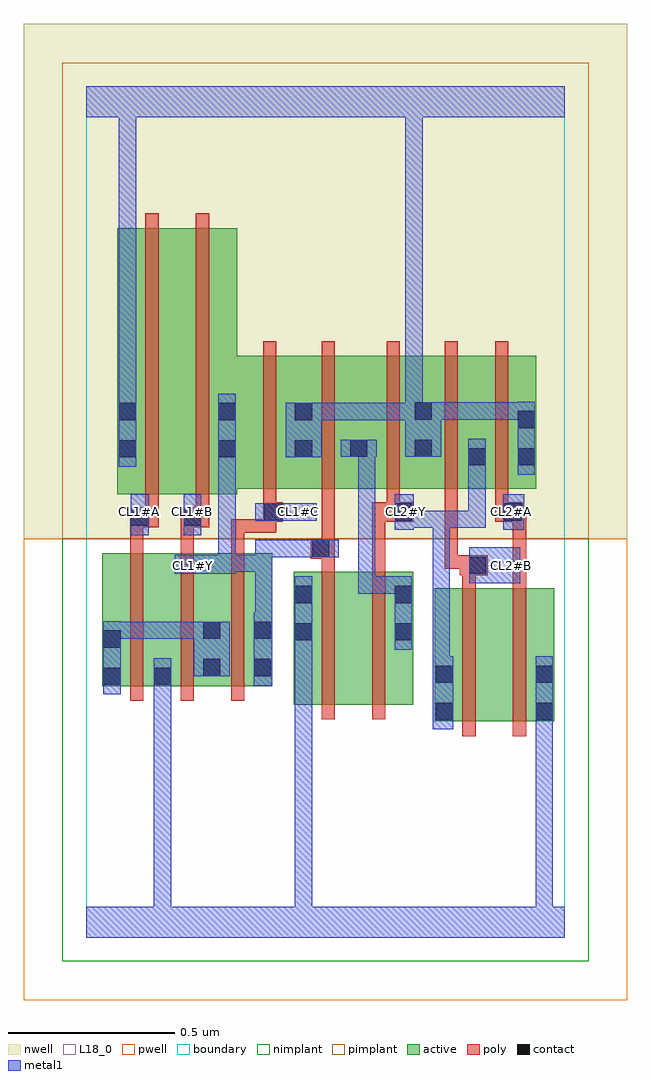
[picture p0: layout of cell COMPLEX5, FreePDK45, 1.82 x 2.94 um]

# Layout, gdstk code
import gdstk
lib = gdstk.Library(unit=1e-6, precision=1e-09)
def R(c, l, rs):  # rectangles x0, y0, x1, y1
    for r in rs: c.add(gdstk.rectangle(r[:2], r[2:], *l))
def A(c, l, x, y, w, h, nx, ny, dx, dy):  # array of equal rectangles
    R(c, l, [(x+i*dx, y+j*dy, x+i*dx+w, y+j*dy+h) for i in range(nx) for j in range(ny)])
active = (1, 0)
pwell = (2, 0)
nwell = (3, 0)
nimplant = (4, 0)
pimplant = (5, 0)
poly = (9, 0)
contact = (10, 0)
metal1 = (11, 0)
L18_0 = (18, 0)
boundary = (235, 0)

complex5 = lib.new_cell('COMPLEX5')
R(complex5, active, [(1.048,0.65,1.108,1.05), (1.048,0.65,1.228,1.05), (1.228,0.65,1.408,1.05), (1.348,0.65,1.408,1.05), (0.624,0.7,0.684,1.1), (0.624,0.7,0.804,1.1), (0.804,0.7,0.984,1.1), (0.924,0.7,0.984,1.1), (0.048,0.756,0.108,1.156), (0.048,0.756,0.26,1.156), (0.2,0.756,0.408,1.156), (0.2,0.756,0.26,0.816), (0.348,0.756,0.56,1.156), (0.348,0.756,0.408,0.954), (0.5,0.756,0.56,1.156), (0.094,1.334,0.274,2.134), (0.094,1.334,0.154,2.044), (0.274,1.334,0.454,2.134), (0.394,1.35,0.454,1.644), (0.394,1.35,0.684,1.75), (0.624,1.35,0.684,1.644), (0.624,1.35,0.85,1.75), (0.79,1.35,0.85,1.644), (0.79,1.35,1.044,1.75), (0.984,1.35,1.044,1.644), (0.984,1.35,1.206,1.75), (1.146,1.35,1.354,1.75), (1.146,1.35,1.206,1.644), (1.294,1.35,1.354,1.644)])
R(complex5, pwell, [(-0.188,-0.188,1.628,1.2)])
R(complex5, nwell, [(-0.188,1.2,1.628,2.748)])
R(complex5, nimplant, [(-0.072,-0.072,1.512,1.2)])
R(complex5, pimplant, [(-0.072,1.2,1.512,2.632)])
A(complex5, poly, 0.132, 0.712, 0.04, 0.488, 3, 1, 0.152, 0)
R(complex5, poly, [(1.132,0.606,1.172,1.094), (1.284,0.606,1.324,1.094), (0.708,0.656,0.748,1.144), (0.86,0.656,0.9,1.144), (1.132,1.054,1.172,1.13), (1.284,1.054,1.324,1.29), (1.124,1.09,1.208,1.15), (0.708,1.104,0.748,1.18), (0.86,1.104,0.9,1.29), (1.078,1.11,1.118,1.346), (1.078,1.11,1.164,1.15), (1.124,1.11,1.164,1.15), (0.676,1.14,0.748,1.2), (0.132,1.16,0.172,1.274), (0.284,1.16,0.324,1.274), (0.436,1.16,0.476,1.258), (0.708,1.16,0.748,1.2), (0.708,1.16,0.748,1.2), (0.708,1.16,0.748,1.346), (0.436,1.218,0.572,1.258), (0.532,1.218,0.572,1.29), (0.132,1.234,0.172,1.274), (0.132,1.234,0.172,1.274), (0.132,1.234,0.218,1.294), (0.284,1.234,0.33,1.274), (0.29,1.234,0.33,1.274), (0.29,1.234,0.37,1.294), (0.532,1.25,0.592,1.31), (0.86,1.25,0.984,1.31), (1.23,1.25,1.314,1.31), (1.274,1.25,1.314,1.29), (1.274,1.25,1.324,1.29), (0.178,1.254,0.218,1.33), (0.33,1.254,0.37,1.33), (0.532,1.27,0.572,1.346), (0.904,1.27,0.944,1.346), (0.904,1.27,0.944,1.31), (0.904,1.27,0.944,1.31), (1.23,1.27,1.27,1.346), (0.178,1.29,0.218,2.178), (0.33,1.29,0.37,2.178), (0.532,1.306,0.572,1.794), (0.708,1.306,0.748,1.794), (0.904,1.306,0.944,1.794), (1.078,1.306,1.118,1.794), (1.23,1.306,1.27,1.794)])
R(complex5, contact, [(1.052,0.654,1.104,0.706), (1.352,0.654,1.404,0.706), (0.052,0.76,0.104,0.812), (0.204,0.76,0.256,0.812), (1.052,0.766,1.104,0.818), (1.352,0.766,1.404,0.818), (0.352,0.786,0.404,0.838), (0.504,0.786,0.556,0.838), (0.052,0.872,0.104,0.924), (0.628,0.894,0.68,0.946), (0.928,0.894,0.98,0.946), (0.352,0.898,0.404,0.95), (0.504,0.898,0.556,0.95), (0.628,1.006,0.68,1.058), (0.928,1.006,0.98,1.058), (1.152,1.094,1.204,1.146), (0.68,1.144,0.732,1.196), (0.136,1.238,0.188,1.29), (0.294,1.238,0.346,1.29), (0.536,1.254,0.588,1.306), (0.928,1.254,0.98,1.306), (1.258,1.254,1.31,1.306), (1.15,1.42,1.202,1.472), (1.298,1.42,1.35,1.472), (0.098,1.444,0.15,1.496), (0.398,1.444,0.45,1.496), (0.628,1.444,0.68,1.496), (0.794,1.446,0.846,1.498), (0.988,1.446,1.04,1.498), (1.298,1.532,1.35,1.584), (0.098,1.556,0.15,1.608), (0.398,1.556,0.45,1.608), (0.628,1.556,0.68,1.608), (0.988,1.558,1.04,1.61)])
R(complex5, metal1, [(0,0,1.44,0.092), (0.204,0.04,0.256,0.784), (0.628,0.04,0.68,0.092), (0.628,0.04,0.68,0.092), (0.628,0.04,0.68,0.092), (0.628,0.04,0.68,0.092), (0.628,0.04,0.68,0.092), (0.628,0.04,0.68,0.092), (0.628,0.04,0.68,0.092), (0.628,0.04,0.68,0.092), (0.628,0.04,0.68,0.092), (0.628,0.04,0.68,0.092), (0.628,0.04,0.68,0.918), (1.352,0.04,1.404,0.678), (1.042,0.626,1.104,0.846), (1.352,0.626,1.404,0.678), (1.352,0.626,1.404,0.678), (1.352,0.626,1.404,0.678), (1.352,0.626,1.404,0.678), (1.352,0.626,1.404,0.678), (1.352,0.626,1.404,0.678), (1.352,0.626,1.404,0.678), (1.352,0.626,1.404,0.678), (1.352,0.626,1.404,0.678), (1.352,0.626,1.404,0.678), (1.352,0.626,1.404,0.678), (1.352,0.626,1.404,0.678), (1.352,0.626,1.404,0.846), (0.052,0.732,0.104,0.952), (0.204,0.732,0.256,0.784), (0.204,0.732,0.256,0.784), (0.204,0.732,0.256,0.784), (0.204,0.732,0.256,0.784), (0.204,0.732,0.256,0.784), (0.204,0.732,0.256,0.784), (0.204,0.732,0.256,0.784), (0.204,0.732,0.256,0.784), (0.204,0.732,0.256,0.784), (0.204,0.732,0.256,0.784), (0.204,0.732,0.256,0.784), (0.204,0.732,0.256,0.784), (0.204,0.732,0.256,0.84), (0.504,0.758,0.56,0.978), (0.324,0.786,0.432,0.95), (1.042,0.794,1.094,1.284), (0.628,0.866,0.68,0.918), (0.628,0.866,0.68,0.918), (0.628,0.866,0.68,1.086), (0.928,0.866,0.98,1.086), (0.052,0.898,0.104,0.95), (0.052,0.898,0.104,0.95), (0.052,0.898,0.212,0.95), (0.16,0.898,0.212,0.95), (0.16,0.898,0.376,0.95), (0.324,0.898,0.376,0.95), (0.324,0.898,0.376,0.95), (0.508,0.926,0.56,1.152), (0.818,1.034,0.87,1.086), (0.818,1.034,0.87,1.086), (0.818,1.034,0.87,1.086), (0.818,1.034,0.87,1.086), (0.818,1.034,0.87,1.086), (0.818,1.034,0.87,1.086), (0.818,1.034,0.87,1.086), (0.818,1.034,0.98,1.086), (0.818,1.034,0.87,1.498), (1.152,1.066,1.306,1.174), (0.266,1.094,0.45,1.152), (0.398,1.1,0.45,1.152), (0.398,1.1,0.45,1.152), (0.398,1.1,0.542,1.152), (0.398,1.1,0.45,1.468), (0.49,1.1,0.542,1.152), (0.49,1.1,0.56,1.152), (0.508,1.1,0.56,1.196), (0.508,1.144,0.704,1.196), (0.652,1.144,0.704,1.196), (0.652,1.144,0.704,1.196), (0.652,1.144,0.76,1.196), (0.134,1.21,0.188,1.334), (0.294,1.21,0.346,1.334), (0.928,1.226,0.986,1.334), (1.254,1.226,1.318,1.334), (0.934,1.232,0.986,1.284), (0.934,1.232,0.986,1.284), (0.934,1.232,1.094,1.284), (1.042,1.232,1.094,1.284), (1.042,1.232,1.094,1.284), (1.042,1.232,1.094,1.284), (1.042,1.232,1.178,1.284), (1.126,1.232,1.178,1.284), (1.126,1.232,1.202,1.284), (1.15,1.232,1.202,1.284), (1.15,1.232,1.202,1.444), (0.508,1.254,0.694,1.306), (1.15,1.392,1.202,1.5), (1.298,1.392,1.35,1.612), (0.098,1.416,0.15,1.636), (0.398,1.416,0.45,1.636), (0.6,1.444,0.708,1.608), (0.766,1.446,0.874,1.498), (0.96,1.446,1.068,1.61), (0.656,1.556,0.708,1.608), (0.656,1.556,0.708,1.608), (0.656,1.556,0.87,1.608), (0.818,1.556,0.87,1.608), (0.818,1.556,0.87,1.608), (0.818,1.556,0.87,1.608), (0.818,1.556,1.012,1.608), (0.96,1.558,1.012,1.61), (0.96,1.558,1.012,1.61), (0.96,1.558,1.012,1.61), (0.96,1.558,1.012,1.61), (0.96,1.558,1.012,2.52), (1.016,1.558,1.094,1.61), (1.042,1.558,1.094,1.61), (1.042,1.558,1.196,1.61), (1.144,1.558,1.196,1.61), (1.144,1.558,1.24,1.61), (1.188,1.558,1.24,1.61), (1.188,1.558,1.35,1.61), (1.298,1.558,1.35,1.61), (1.298,1.558,1.35,1.61), (0.098,1.584,0.15,1.636), (0.098,1.584,0.15,1.636), (0.098,1.584,0.15,1.636), (0.098,1.584,0.15,1.636), (0.098,1.584,0.15,1.636), (0.098,1.584,0.15,1.636), (0.098,1.584,0.15,1.636), (0.098,1.584,0.15,1.636), (0.098,1.584,0.15,2.52), (0,2.468,1.44,2.56), (0.96,2.468,1.012,2.52), (0.96,2.468,1.012,2.52), (0.96,2.468,1.012,2.52), (0.96,2.468,1.012,2.52), (0.96,2.468,1.012,2.52), (0.96,2.468,1.012,2.52), (0.96,2.468,1.012,2.52), (0.96,2.468,1.012,2.52), (0.96,2.468,1.012,2.52), (0.96,2.468,1.012,2.52), (0.96,2.468,1.012,2.52), (0.96,2.468,1.012,2.52)])
A(complex5, L18_0, 0.294, 1.254, 0.052, 0.052, 4, 1, 0.32, 0)
R(complex5, L18_0, [(0,0,1.44,0.092), (0.204,0.04,0.256,0.784), (0.628,0.04,0.68,0.092), (0.628,0.04,0.68,0.092), (0.628,0.04,0.68,0.092), (0.628,0.04,0.68,0.092), (0.628,0.04,0.68,0.092), (0.628,0.04,0.68,0.092), (0.628,0.04,0.68,0.092), (0.628,0.04,0.68,0.092), (0.628,0.04,0.68,0.092), (0.628,0.04,0.68,0.092), (0.628,0.04,0.68,0.918), (1.352,0.04,1.404,0.678), (1.042,0.626,1.104,0.846), (1.352,0.626,1.404,0.846), (1.352,0.626,1.404,0.678), (1.352,0.626,1.404,0.678), (1.352,0.626,1.404,0.678), (1.352,0.626,1.404,0.678), (1.352,0.626,1.404,0.678), (1.352,0.626,1.404,0.678), (1.352,0.626,1.404,0.678), (1.352,0.626,1.404,0.678), (1.352,0.626,1.404,0.678), (1.352,0.626,1.404,0.678), (1.352,0.626,1.404,0.678), (1.352,0.626,1.404,0.678), (0.204,0.732,0.256,0.784), (0.204,0.732,0.256,0.784), (0.204,0.732,0.256,0.784), (0.204,0.732,0.256,0.784), (0.204,0.732,0.256,0.784), (0.204,0.732,0.256,0.784), (0.204,0.732,0.256,0.784), (0.204,0.732,0.256,0.784), (0.204,0.732,0.256,0.784), (0.204,0.732,0.256,0.784), (0.204,0.732,0.256,0.784), (0.204,0.732,0.256,0.784), (0.204,0.732,0.256,0.84), (0.504,0.758,0.56,0.978), (1.042,0.794,1.094,1.284), (0.628,0.866,0.68,1.086), (0.628,0.866,0.68,0.918), (0.628,0.866,0.68,0.918), (0.508,0.926,0.56,1.152), (1.152,1.066,1.306,1.174), (0.266,1.094,0.45,1.152), (0.294,1.094,0.346,1.146), (1.254,1.094,1.306,1.146), (0.398,1.1,0.45,1.152), (0.398,1.1,0.45,1.152), (0.398,1.1,0.45,1.468), (0.398,1.1,0.542,1.152), (0.49,1.1,0.542,1.152), (0.49,1.1,0.56,1.152), (0.508,1.1,0.56,1.196), (0.508,1.144,0.704,1.196), (0.652,1.144,0.704,1.196), (0.652,1.144,0.704,1.196), (0.652,1.144,0.76,1.196), (0.134,1.21,0.188,1.334), (0.294,1.21,0.346,1.334), (0.928,1.226,0.986,1.334), (1.254,1.226,1.318,1.334), (0.934,1.232,0.986,1.284), (0.934,1.232,0.986,1.284), (0.934,1.232,1.094,1.284), (1.042,1.232,1.094,1.284), (1.042,1.232,1.094,1.284), (1.042,1.232,1.094,1.284), (1.042,1.232,1.178,1.284), (1.126,1.232,1.178,1.284), (1.126,1.232,1.202,1.284), (1.15,1.232,1.202,1.284), (1.15,1.232,1.202,1.444), (0.134,1.254,0.186,1.306), (0.508,1.254,0.694,1.306), (1.15,1.392,1.202,1.5), (1.298,1.392,1.35,1.612), (0.098,1.416,0.15,1.636), (0.398,1.416,0.45,1.636), (0.6,1.444,0.708,1.608), (0.96,1.446,1.068,1.61), (0.656,1.556,0.708,1.608), (0.656,1.556,0.708,1.608), (0.656,1.556,0.87,1.608), (0.818,1.556,0.87,1.608), (0.818,1.556,0.87,1.608), (0.818,1.556,0.87,1.608), (0.818,1.556,1.012,1.608), (0.96,1.558,1.012,1.61), (0.96,1.558,1.012,1.61), (0.96,1.558,1.012,1.61), (0.96,1.558,1.012,1.61), (0.96,1.558,1.012,2.52), (1.016,1.558,1.094,1.61), (1.042,1.558,1.094,1.61), (1.042,1.558,1.196,1.61), (1.144,1.558,1.196,1.61), (1.144,1.558,1.24,1.61), (1.188,1.558,1.24,1.61), (1.188,1.558,1.35,1.61), (1.298,1.558,1.35,1.61), (1.298,1.558,1.35,1.61), (0.098,1.584,0.15,1.636), (0.098,1.584,0.15,1.636), (0.098,1.584,0.15,1.636), (0.098,1.584,0.15,1.636), (0.098,1.584,0.15,1.636), (0.098,1.584,0.15,1.636), (0.098,1.584,0.15,1.636), (0.098,1.584,0.15,1.636), (0.098,1.584,0.15,2.52), (0,2.468,1.44,2.56), (0.96,2.468,1.012,2.52), (0.96,2.468,1.012,2.52), (0.96,2.468,1.012,2.52), (0.96,2.468,1.012,2.52), (0.96,2.468,1.012,2.52), (0.96,2.468,1.012,2.52), (0.96,2.468,1.012,2.52), (0.96,2.468,1.012,2.52), (0.96,2.468,1.012,2.52), (0.96,2.468,1.012,2.52), (0.96,2.468,1.012,2.52), (0.96,2.468,1.012,2.52)])
R(complex5, boundary, [(0,0,1.44,2.56)])
complex5.add(gdstk.Label('CL1#A', (0.16,1.28), layer=11, texttype=0))
complex5.add(gdstk.Label('CL1#B', (0.32,1.28), layer=11, texttype=0))
complex5.add(gdstk.Label('CL1#C', (0.64,1.28), layer=11, texttype=0))
complex5.add(gdstk.Label('CL1#Y', (0.32,1.12), layer=11, texttype=0))
complex5.add(gdstk.Label('CL2#A', (1.28,1.28), layer=11, texttype=0))
complex5.add(gdstk.Label('CL2#B', (1.28,1.12), layer=11, texttype=0))
complex5.add(gdstk.Label('CL2#Y', (0.96,1.28), layer=11, texttype=0))

lib.write_gds('COMPLEX5.gds')
